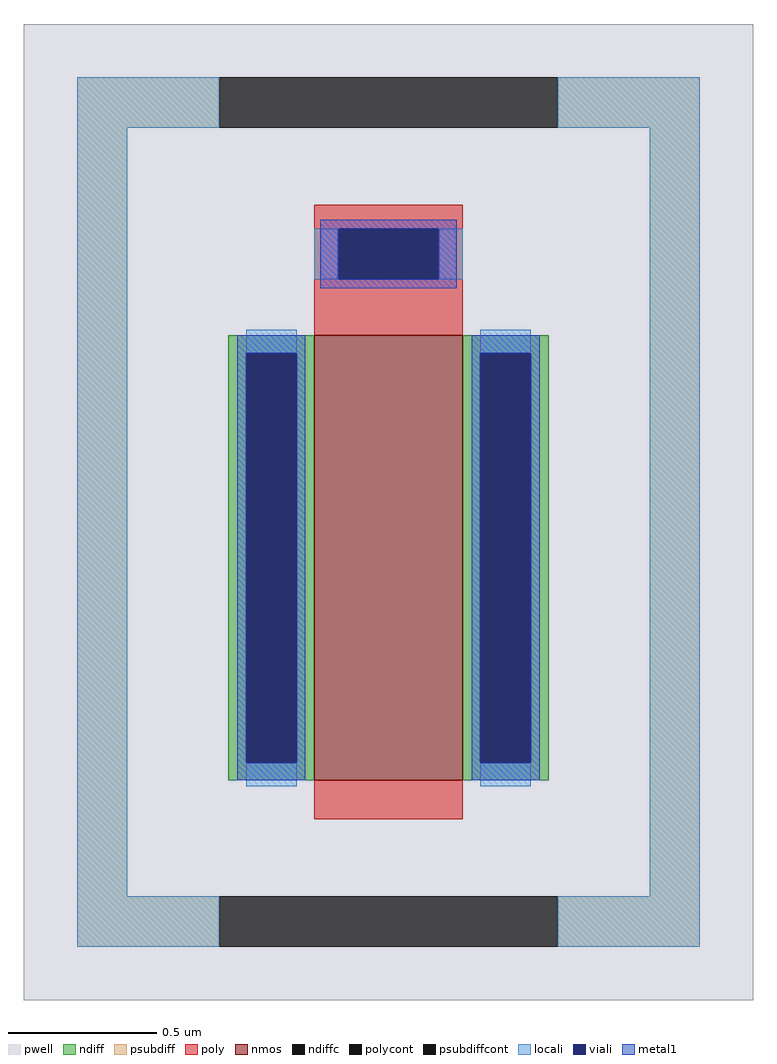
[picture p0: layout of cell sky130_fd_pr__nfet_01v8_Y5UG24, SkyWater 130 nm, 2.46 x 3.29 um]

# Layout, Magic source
magic
tech sky130A
magscale 1 2
<< pwell >>
rect -246 -329 246 329
<< nmos >>
rect -50 -181 50 119
<< ndiff >>
rect -108 107 -50 119
rect -108 -169 -96 107
rect -62 -169 -50 107
rect -108 -181 -50 -169
rect 50 107 108 119
rect 50 -169 62 107
rect 96 -169 108 107
rect 50 -181 108 -169
<< ndiffc >>
rect -96 -169 -62 107
rect 62 -169 96 107
<< psubdiff >>
rect -210 259 -114 293
rect 114 259 210 293
rect -210 -259 -176 259
rect 176 -259 210 259
rect -210 -293 -114 -259
rect 114 -293 210 -259
<< psubdiffcont >>
rect -114 259 114 293
rect -114 -293 114 -259
<< poly >>
rect -50 191 50 207
rect -50 157 -34 191
rect 34 157 50 191
rect -50 119 50 157
rect -50 -207 50 -181
<< polycont >>
rect -34 157 34 191
<< locali >>
rect -210 259 -114 293
rect 114 259 210 293
rect -210 -259 -176 259
rect -50 157 -34 191
rect 34 157 50 191
rect -96 107 -62 123
rect -96 -185 -62 -169
rect 62 107 96 123
rect 62 -185 96 -169
rect 176 -259 210 259
rect -210 -293 -114 -259
rect 114 -293 210 -259
<< viali >>
rect -34 157 34 191
rect -96 -169 -62 107
rect 62 -169 96 107
<< metal1 >>
rect -46 191 46 197
rect -46 157 -34 191
rect 34 157 46 191
rect -46 151 46 157
rect -102 107 -56 119
rect -102 -169 -96 107
rect -62 -169 -56 107
rect -102 -181 -56 -169
rect 56 107 102 119
rect 56 -169 62 107
rect 96 -169 102 107
rect 56 -181 102 -169
<< properties >>
string FIXED_BBOX -193 -276 193 276
string gencell sky130_fd_pr__nfet_01v8
string library sky130
string parameters w 1.5 l 0.5 m 1 nf 1 diffcov 100 polycov 100 guard 1 glc 0 grc 0 gtc 1 gbc 1 tbcov 100 rlcov 100 topc 1 botc 0 poverlap 0 doverlap 1 lmin 0.15 wmin 0.42 compatible {sky130_fd_pr__nfet_01v8 sky130_fd_pr__nfet_01v8_lvt  sky130_fd_bs_flash__special_sonosfet_star  sky130_fd_pr__nfet_g5v0d10v5 sky130_fd_pr__nfet_05v0_nvt  sky130_fd_pr__nfet_03v3_nvt} full_metal 1 viasrc 100 viadrn 100 viagate 100 viagb 0 viagr 0 viagl 0 viagt 0
<< end >>
